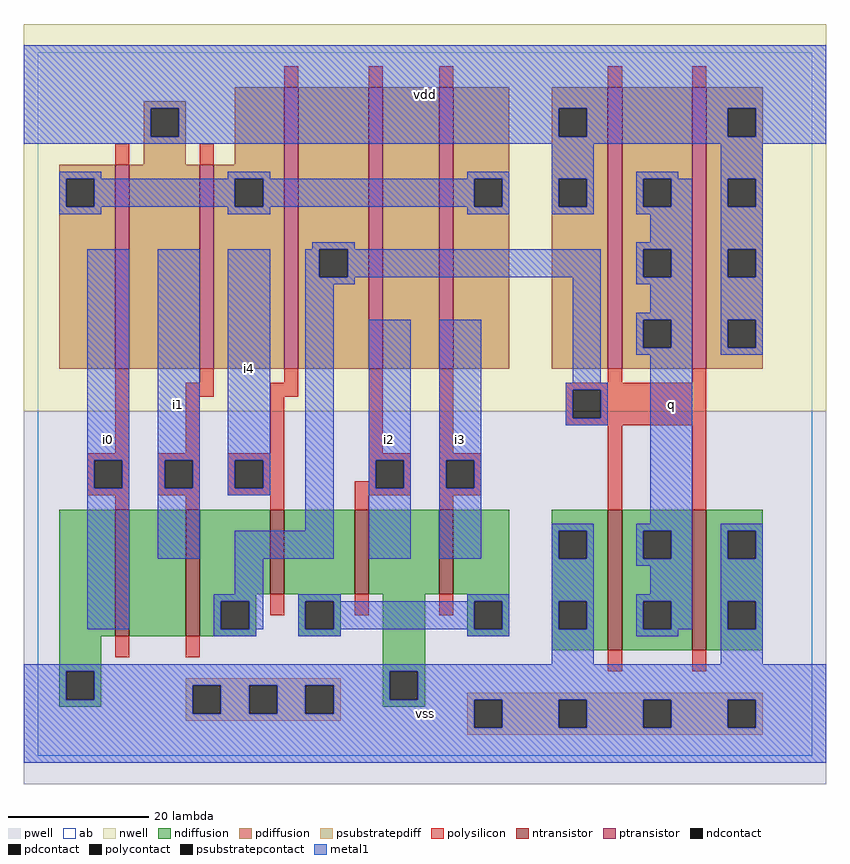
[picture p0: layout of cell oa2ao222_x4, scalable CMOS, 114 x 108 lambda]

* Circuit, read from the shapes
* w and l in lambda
.subckt oa2ao222_x4 i0 i1 i2 i3 i4 q vdd vss
M1 n1 i0 vss vss nfet w=18 l=2
M2 n2 i1 n1 vss nfet w=18 l=2
M3 n3 i4 n2 vss nfet w=12 l=2
M4 vss i2 n3 vss nfet w=12 l=2
M5 n3 i3 vss vss nfet w=12 l=2
M6 q n2 vss vss nfet w=20 l=2 m=2
M7 vdd i0 n4 n5 pfet w=29 l=2
M8 n4 i1 vdd n5 pfet w=29 l=2
M9 n2 i4 n4 n5 pfet w=40 l=2
M10 n6 i2 n2 n5 pfet w=40 l=2
M11 n4 i3 n6 n5 pfet w=40 l=2
M12 q n2 vdd n5 pfet w=40 l=2 m=2
.ends

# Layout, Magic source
magic
tech scmos
<< ab >>
rect 0 0 110 100
<< pwell >>
rect -2 -4 112 49
<< nwell >>
rect -2 49 112 104
<< polysilicon >>
rect 35 95 37 98
rect 47 95 49 98
rect 57 95 59 98
rect 81 95 83 98
rect 93 95 95 98
rect 11 84 13 87
rect 23 84 25 87
rect 11 43 13 55
rect 23 53 25 55
rect 35 53 37 55
rect 21 51 25 53
rect 33 51 37 53
rect 21 43 23 51
rect 33 43 35 51
rect 7 42 13 43
rect 7 38 8 42
rect 12 38 13 42
rect 7 37 13 38
rect 17 42 23 43
rect 17 38 18 42
rect 22 38 23 42
rect 17 37 23 38
rect 27 42 35 43
rect 27 38 28 42
rect 32 38 35 42
rect 47 43 49 55
rect 57 43 59 55
rect 81 53 83 55
rect 93 53 95 55
rect 75 52 95 53
rect 75 48 76 52
rect 80 48 95 52
rect 75 47 95 48
rect 47 42 53 43
rect 47 39 48 42
rect 27 37 35 38
rect 11 35 13 37
rect 21 35 23 37
rect 33 35 35 37
rect 45 38 48 39
rect 52 38 53 42
rect 45 37 53 38
rect 57 42 63 43
rect 57 38 58 42
rect 62 38 63 42
rect 57 37 63 38
rect 45 35 47 37
rect 57 35 59 37
rect 81 35 83 47
rect 93 35 95 47
rect 33 20 35 23
rect 45 20 47 23
rect 11 14 13 17
rect 21 14 23 17
rect 57 20 59 23
rect 81 12 83 15
rect 93 12 95 15
<< ndiffusion >>
rect 3 17 11 35
rect 13 17 21 35
rect 23 23 33 35
rect 35 23 45 35
rect 47 23 57 35
rect 59 23 67 35
rect 23 22 31 23
rect 23 18 26 22
rect 30 18 31 22
rect 37 22 43 23
rect 23 17 31 18
rect 37 18 38 22
rect 42 18 43 22
rect 37 17 43 18
rect 3 12 9 17
rect 3 8 4 12
rect 8 8 9 12
rect 49 12 55 23
rect 61 22 67 23
rect 61 18 62 22
rect 66 18 67 22
rect 61 17 67 18
rect 73 32 81 35
rect 73 28 74 32
rect 78 28 81 32
rect 73 22 81 28
rect 73 18 74 22
rect 78 18 81 22
rect 73 15 81 18
rect 83 32 93 35
rect 83 28 86 32
rect 90 28 93 32
rect 83 22 93 28
rect 83 18 86 22
rect 90 18 93 22
rect 83 15 93 18
rect 95 32 103 35
rect 95 28 98 32
rect 102 28 103 32
rect 95 22 103 28
rect 95 18 98 22
rect 102 18 103 22
rect 95 15 103 18
rect 3 7 9 8
rect 49 8 50 12
rect 54 8 55 12
rect 49 7 55 8
<< pdiffusion >>
rect 15 92 21 93
rect 15 88 16 92
rect 20 88 21 92
rect 15 84 21 88
rect 28 84 35 95
rect 3 82 11 84
rect 3 78 4 82
rect 8 78 11 82
rect 3 55 11 78
rect 13 55 23 84
rect 25 82 35 84
rect 25 78 28 82
rect 32 78 35 82
rect 25 55 35 78
rect 37 72 47 95
rect 37 68 40 72
rect 44 68 47 72
rect 37 55 47 68
rect 49 55 57 95
rect 59 82 67 95
rect 59 78 62 82
rect 66 78 67 82
rect 59 55 67 78
rect 73 92 81 95
rect 73 88 74 92
rect 78 88 81 92
rect 73 82 81 88
rect 73 78 74 82
rect 78 78 81 82
rect 73 55 81 78
rect 83 82 93 95
rect 83 78 86 82
rect 90 78 93 82
rect 83 72 93 78
rect 83 68 86 72
rect 90 68 93 72
rect 83 62 93 68
rect 83 58 86 62
rect 90 58 93 62
rect 83 55 93 58
rect 95 92 103 95
rect 95 88 98 92
rect 102 88 103 92
rect 95 82 103 88
rect 95 78 98 82
rect 102 78 103 82
rect 95 72 103 78
rect 95 68 98 72
rect 102 68 103 72
rect 95 62 103 68
rect 95 58 98 62
rect 102 58 103 62
rect 95 55 103 58
<< metal1 >>
rect -2 92 112 101
rect -2 88 16 92
rect 20 88 74 92
rect 78 88 98 92
rect 102 88 112 92
rect -2 87 112 88
rect 3 82 9 83
rect 27 82 33 83
rect 61 82 67 83
rect 3 78 4 82
rect 8 78 28 82
rect 32 78 62 82
rect 66 78 67 82
rect 3 77 9 78
rect 27 77 33 78
rect 61 77 67 78
rect 73 82 79 87
rect 73 78 74 82
rect 78 78 79 82
rect 73 77 79 78
rect 85 82 91 83
rect 97 82 103 87
rect 85 78 86 82
rect 90 78 93 82
rect 85 77 93 78
rect 87 73 93 77
rect 39 72 45 73
rect 85 72 93 73
rect 7 42 13 72
rect 7 38 8 42
rect 12 38 13 42
rect 7 18 13 38
rect 17 42 23 72
rect 17 38 18 42
rect 22 38 23 42
rect 17 28 23 38
rect 27 42 33 72
rect 27 38 28 42
rect 32 38 33 42
rect 27 37 33 38
rect 38 68 40 72
rect 44 68 80 72
rect 38 67 45 68
rect 38 32 42 67
rect 28 28 42 32
rect 47 42 53 62
rect 47 38 48 42
rect 52 38 53 42
rect 47 28 53 38
rect 57 42 63 62
rect 76 53 80 68
rect 85 68 86 72
rect 90 68 93 72
rect 85 67 93 68
rect 87 63 93 67
rect 85 62 93 63
rect 85 58 86 62
rect 90 58 93 62
rect 85 57 93 58
rect 97 78 98 82
rect 102 78 103 82
rect 97 72 103 78
rect 97 68 98 72
rect 102 68 103 72
rect 97 62 103 68
rect 97 58 98 62
rect 102 58 103 62
rect 97 57 103 58
rect 75 52 81 53
rect 75 48 76 52
rect 80 48 81 52
rect 75 47 81 48
rect 57 38 58 42
rect 62 38 63 42
rect 57 28 63 38
rect 87 33 93 57
rect 73 32 79 33
rect 73 28 74 32
rect 78 28 79 32
rect 28 23 32 28
rect 25 22 32 23
rect 25 18 26 22
rect 30 18 32 22
rect 37 22 43 23
rect 61 22 67 23
rect 37 18 38 22
rect 42 18 62 22
rect 66 18 67 22
rect 25 17 31 18
rect 37 17 43 18
rect 61 17 67 18
rect 73 22 79 28
rect 85 32 93 33
rect 85 28 86 32
rect 90 28 93 32
rect 85 27 93 28
rect 87 23 93 27
rect 73 18 74 22
rect 78 18 79 22
rect 73 13 79 18
rect 85 22 93 23
rect 85 18 86 22
rect 90 18 93 22
rect 97 32 103 33
rect 97 28 98 32
rect 102 28 103 32
rect 97 22 103 28
rect 97 18 98 22
rect 102 18 103 22
rect 85 17 91 18
rect 97 13 103 18
rect -2 12 112 13
rect -2 8 4 12
rect 8 10 50 12
rect 8 8 22 10
rect -2 6 22 8
rect 26 6 30 10
rect 34 6 38 10
rect 42 8 50 10
rect 54 8 112 12
rect 42 6 62 8
rect -2 4 62 6
rect 66 4 74 8
rect 78 4 86 8
rect 90 4 98 8
rect 102 4 112 8
rect -2 -1 112 4
<< ntransistor >>
rect 11 17 13 35
rect 21 17 23 35
rect 33 23 35 35
rect 45 23 47 35
rect 57 23 59 35
rect 81 15 83 35
rect 93 15 95 35
<< ptransistor >>
rect 11 55 13 84
rect 23 55 25 84
rect 35 55 37 95
rect 47 55 49 95
rect 57 55 59 95
rect 81 55 83 95
rect 93 55 95 95
<< polycontact >>
rect 8 38 12 42
rect 18 38 22 42
rect 28 38 32 42
rect 76 48 80 52
rect 48 38 52 42
rect 58 38 62 42
<< ndcontact >>
rect 26 18 30 22
rect 38 18 42 22
rect 4 8 8 12
rect 62 18 66 22
rect 74 28 78 32
rect 74 18 78 22
rect 86 28 90 32
rect 86 18 90 22
rect 98 28 102 32
rect 98 18 102 22
rect 50 8 54 12
<< pdcontact >>
rect 16 88 20 92
rect 4 78 8 82
rect 28 78 32 82
rect 40 68 44 72
rect 62 78 66 82
rect 74 88 78 92
rect 74 78 78 82
rect 86 78 90 82
rect 86 68 90 72
rect 86 58 90 62
rect 98 88 102 92
rect 98 78 102 82
rect 98 68 102 72
rect 98 58 102 62
<< psubstratepcontact >>
rect 22 6 26 10
rect 30 6 34 10
rect 38 6 42 10
rect 62 4 66 8
rect 74 4 78 8
rect 86 4 90 8
rect 98 4 102 8
<< psubstratepdiff >>
rect 21 10 43 11
rect 21 6 22 10
rect 26 6 30 10
rect 34 6 38 10
rect 42 6 43 10
rect 61 8 103 9
rect 21 5 43 6
rect 61 4 62 8
rect 66 4 74 8
rect 78 4 86 8
rect 90 4 98 8
rect 102 4 103 8
rect 61 3 103 4
<< labels >>
rlabel metal1 10 45 10 45 6 i0
rlabel metal1 10 45 10 45 6 i0
rlabel metal1 20 50 20 50 6 i1
rlabel metal1 20 50 20 50 6 i1
rlabel metal1 30 55 30 55 6 i4
rlabel metal1 30 55 30 55 6 i4
rlabel metal1 55 6 55 6 6 vss
rlabel metal1 55 6 55 6 6 vss
rlabel metal1 50 45 50 45 6 i2
rlabel metal1 60 45 60 45 6 i3
rlabel metal1 60 45 60 45 6 i3
rlabel metal1 50 45 50 45 6 i2
rlabel metal1 55 94 55 94 6 vdd
rlabel metal1 55 94 55 94 6 vdd
rlabel metal1 90 50 90 50 6 q
rlabel metal1 90 50 90 50 6 q
<< end >>
